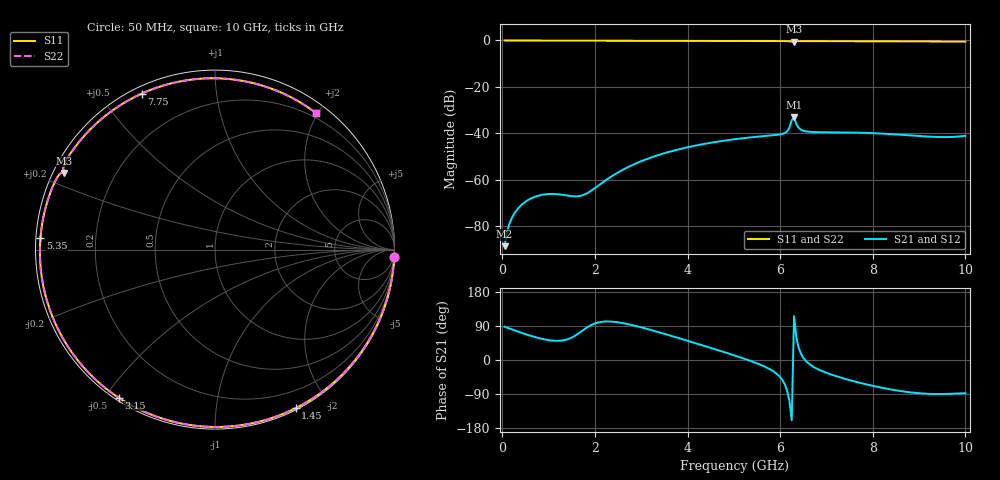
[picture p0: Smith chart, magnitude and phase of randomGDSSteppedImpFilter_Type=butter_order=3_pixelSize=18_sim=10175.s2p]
! freq	dB(S11)	phase(S11)	dB(S12)	phase(S12)
!  dB(S21)	phase(S21)	dB(S22)	phase(S22)
!S-par simulation data
#  GHz  S  DB  R 50
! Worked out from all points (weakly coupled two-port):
!   200 points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, 50 MHz to 10 GHz, reference 50 ohm
!   highest |S21| = -33.12 dB at 6.3 GHz (marker M1); lowest = -88.5 dB at 50 MHz (marker M2)
!   lowest |S11| = -0.5 dB at 6.3 GHz (marker M3), VSWR 33.31, Z = 1.59 + j12 ohm
!   |S11| at or under -10 dB: nowhere
!   |S22| runs from -0.5 to 0.0 dB; largest |S21 - S12| = 0
!   S11 on the Smith chart (normalised r, x): 50 MHz: 0, -50; 1.45 GHz: 0.02, -1.63; 3.15 GHz: 0.01, -0.54; 5.35 GHz: 0.01, +0.03; 7.75 GHz: 0.03, +0.63; 10 GHz: 0.14, +1.98
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0.05  -0.00 -2.3  -88.54 87.8  -88.54 87.8  -0.00 -2.3
0.15  -0.01 -6.8  -79.08 83.3  -79.08 83.3  -0.01 -6.8
0.4  -0.02 -18.1  -71.05 72.4  -71.05 72.4  -0.02 -18.1
0.65  -0.04 -29.2  -67.73 62.5  -67.73 62.5  -0.04 -29.2
1  -0.06 -44.4  -66.09 52.4  -66.09 52.4  -0.06 -44.4
1.45  -0.08 -63.0  -66.90 56.5  -66.90 56.5  -0.08 -63.0
1.75  -0.09 -74.8  -66.50 79.3  -66.50 79.3  -0.09 -74.8
2.4  -0.11 -98.5  -58.00 100.8  -58.00 100.8  -0.11 -98.5
3.15  -0.14 -123.1  -50.82 81.3  -50.82 81.3  -0.14 -123.1
3.4  -0.14 -130.7  -49.13 72.6  -49.13 72.6  -0.14 -130.7
4.2  -0.17 -153.5  -45.14 43.3  -45.14 43.3  -0.17 -153.5
5.05  -0.21 -176.1  -42.43 10.7  -42.43 10.7  -0.21 -176.1
5.35  -0.22 176.2  -41.75 -1.9  -41.75 -1.9  -0.22 176.2
6.1  -0.28 156.8  -39.85 -64.0  -39.85 -64.0  -0.28 156.9
6.2  -0.34 153.9  -37.58 -107.6  -37.58 -107.6  -0.34 154.0
6.3  -0.52 153.0  -33.12 115.6  -33.12 115.6  -0.52 153.0
6.45  -0.30 149.0  -38.44 16.5  -38.44 16.5  -0.30 149.0
6.7  -0.30 142.4  -39.40 -16.6  -39.40 -16.6  -0.30 142.4
7.75  -0.35 115.2  -39.72 -61.0  -39.72 -61.0  -0.35 115.2
8.35  -0.39 99.2  -40.25 -76.8  -40.25 -76.8  -0.39 99.2
9.15  -0.43 77.3  -41.31 -88.9  -41.31 -88.9  -0.43 77.4
10  -0.48 53.5  -41.04 -87.5  -41.04 -87.5  -0.48 53.5
